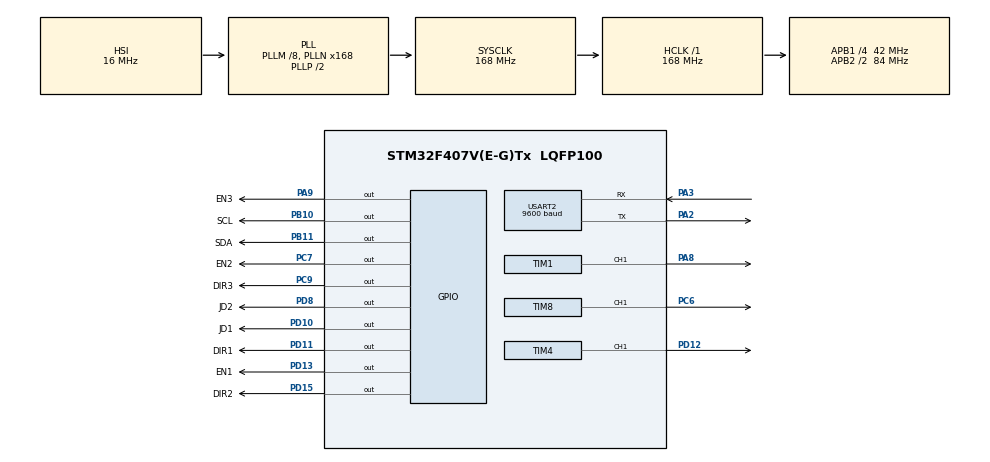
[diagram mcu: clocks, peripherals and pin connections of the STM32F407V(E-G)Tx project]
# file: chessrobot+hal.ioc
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Mcu.Family=STM32F4
Mcu.Name=STM32F407V(E-G)Tx
Mcu.Package=LQFP100
NVIC.PriorityGroup=NVIC_PRIORITYGROUP_4
NVIC.TIM1_UP_TIM10_IRQn=true\:0\:0\:false\:false\:true\:true\:true\:true
NVIC.TIM4_IRQn=true\:0\:0\:false\:false\:true\:true\:true\:true
NVIC.TIM8_UP_TIM13_IRQn=true\:0\:0\:false\:false\:true\:true\:true\:true
NVIC.USART2_IRQn=true\:1\:0\:true\:false\:true\:true\:true\:true
PA13.Mode=Serial_Wire
PA13.Signal=SYS_JTMS-SWDIO
PA14.Mode=Serial_Wire
PA14.Signal=SYS_JTCK-SWCLK
PA2.Mode=Asynchronous
PA2.Signal=USART2_TX
PA3.Mode=Asynchronous
PA3.Signal=USART2_RX
PA8.Signal=S_TIM1_CH1
PA9.GPIO_Label=EN3
PA9.GPIO_Speed=GPIO_SPEED_FREQ_MEDIUM
PA9.Signal=GPIO_Output
PB10.GPIO_Label=SCL
PB10.GPIO_ModeDefaultOutputPP=GPIO_MODE_OUTPUT_OD
PB10.GPIO_PuPd=GPIO_PULLUP
PB10.Signal=GPIO_Output
PB11.GPIO_Label=SDA
PB11.GPIO_ModeDefaultOutputPP=GPIO_MODE_OUTPUT_OD
PB11.GPIO_PuPd=GPIO_PULLUP
PB11.Signal=GPIO_Output
PC14-OSC32_IN.Mode=LSE-External-Oscillator
PC14-OSC32_IN.Signal=RCC_OSC32_IN
PC15-OSC32_OUT.Mode=LSE-External-Oscillator
PC15-OSC32_OUT.Signal=RCC_OSC32_OUT
PC6.Signal=S_TIM8_CH1
PC7.GPIO_Label=EN2
PC7.GPIO_Speed=GPIO_SPEED_FREQ_MEDIUM
PC7.Signal=GPIO_Output
PC9.GPIO_Label=DIR3
PC9.GPIO_Speed=GPIO_SPEED_FREQ_MEDIUM
PC9.Signal=GPIO_Output
PD10.GPIO_Label=JD1
PD10.GPIO_ModeDefaultOutputPP=GPIO_MODE_OUTPUT_PP
PD10.GPIO_PuPd=GPIO_NOPULL
PD10.Signal=GPIO_Output
PD11.GPIO_Label=DIR1
PD11.GPIO_Speed=GPIO_SPEED_FREQ_MEDIUM
PD11.Signal=GPIO_Output
PD12.Signal=S_TIM4_CH1
PD13.GPIO_Label=EN1
PD13.GPIO_Speed=GPIO_SPEED_FREQ_MEDIUM
PD13.Signal=GPIO_Output
PD15.GPIO_Label=DIR2
PD15.GPIO_Speed=GPIO_SPEED_FREQ_MEDIUM
PD15.Signal=GPIO_Output
PD8.GPIO_Label=JD2
PD8.Signal=GPIO_Output
PH0-OSC_IN.Mode=HSE-External-Oscillator
PH0-OSC_IN.Signal=RCC_OSC_IN
PH1-OSC_OUT.Mode=HSE-External-Oscillator
PH1-OSC_OUT.Signal=RCC_OSC_OUT
ProjectManager.HeapSize=0x200
ProjectManager.StackSize=0x400
ProjectManager.TargetToolchain=MDK-ARM V5.32
RCC.48MHZClocksFreq_Value=84000000
RCC.AHBFreq_Value=168000000
RCC.APB1CLKDivider=RCC_HCLK_DIV4
RCC.APB1Freq_Value=42000000
RCC.APB1TimFreq_Value=84000000
RCC.APB2CLKDivider=RCC_HCLK_DIV2
RCC.APB2Freq_Value=84000000
RCC.APB2TimFreq_Value=168000000
RCC.CortexFreq_Value=168000000
RCC.HCLKFreq_Value=168000000
RCC.HSE_VALUE=25000000
RCC.HSI_VALUE=16000000
RCC.PLLM=8
RCC.PLLN=168
RCC.SYSCLKFreq_VALUE=168000000
RCC.SYSCLKSource=RCC_SYSCLKSOURCE_PLLCLK
RCC.VCOOutputFreq_Value=336000000
SH.S_TIM1_CH1.0=TIM1_CH1,PWM Generation1 CH1
SH.S_TIM4_CH1.0=TIM4_CH1,PWM Generation1 CH1
SH.S_TIM8_CH1.0=TIM8_CH1,PWM Generation1 CH1
TIM1.AutoReloadPreload=TIM_AUTORELOAD_PRELOAD_ENABLE
TIM1.Channel-PWM\ Generation1\ CH1=TIM_CHANNEL_1
TIM1.Period=10000-1
TIM1.Prescaler=168-1
TIM13.Prescaler=168-1
TIM4.AutoReloadPreload=TIM_AUTORELOAD_PRELOAD_ENABLE
TIM4.Channel-PWM\ Generation1\ CH1=TIM_CHANNEL_1
TIM4.Period=10000-1
TIM4.Prescaler=168-1
TIM8.AutoReloadPreload=TIM_AUTORELOAD_PRELOAD_ENABLE
TIM8.Channel-PWM\ Generation1\ CH1=TIM_CHANNEL_1
TIM8.Period=10000-1
TIM8.Prescaler=168-1
TIM8.Pulse-PWM\ Generation1\ CH1=0
USART2.BaudRate=9600
USART2.VirtualMode=VM_ASYNC
VP_TIM13_VS_ClockSourceINT.Mode=Enable_Timer
VP_TIM1_VS_ClockSourceINT.Mode=Internal
VP_TIM4_VS_ClockSourceINT.Mode=Internal
VP_TIM8_VS_ClockSourceINT.Mode=Internal
board=custom

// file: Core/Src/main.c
/* USER CODE BEGIN Header */
/**
  ******************************************************************************
  * @file           : main.c
  * @brief          : Main program body
  ******************************************************************************
  * @attention
  *
  * Copyright (c) 2025 STMicroelectronics.
  * All rights reserved.
  *
  * This software is licensed under terms that can be found in the LICENSE file
  * in the root directory of this software component.
  * If no LICENSE file comes with this software, it is provided AS-IS.
  *
  ******************************************************************************
  */
/* USER CODE END Header */
#include "main.h"
#include "tim.h"
#include "usart.h"
#include "gpio.h"

/* USER CODE BEGIN Includes */
#include "H_Oled.h"
#include "tmc2209.h"
#include "poscal.h"
/* USER CODE END Includes */

/* USER CODE BEGIN PV */
uint8_t dataRcvd=0;
int temp=0;
uint8_t byteNumber=5;
extern uint8_t motor2_flag;
extern uint8_t motor1_flag;
extern uint8_t motor3_flag;
/* USER CODE END PV */

void SystemClock_Config(void);

int main(void)
{

  /* MCU Configuration--------------------------------------------------------*/

  /* Reset of all peripherals, Initializes the Flash interface and the Systick. */
  HAL_Init();

  /* Configure the system clock */
  SystemClock_Config();

  /* Initialize all configured peripherals */
  MX_GPIO_Init();
  MX_USART2_UART_Init();
  MX_TIM1_Init();
  MX_TIM4_Init();
  MX_TIM8_Init();
  MX_TIM13_Init();
  /* USER CODE BEGIN 2 */
  HAL_Delay(50);
  OLED_Init();
  HAL_Delay(50);
  OLED_Clear();
  HAL_Delay(50);
  /* USER CODE END 2 */

  /* Infinite loop */
  /* USER CODE BEGIN WHILE */
  HAL_UART_Receive_IT(&huart2,&dataRcvd,1);

  tmc2209_init();
  //motor2_setangle(90);
  //motor2_setangle(-90);
  OLED_ShowNum(1,1,1,1);

  motor3_setangle(30);
  //motor2_setangle(90);

  // angele_setxyz(220,0,20);
  // while(motor1_flag==1||motor2_flag==1||motor3_flag==1){
  //   HAL_Delay(10);
  // }
  // angele_setxyz(220,0,-38);
  // while(motor1_flag==1||motor2_flag==1||motor3_flag==1){
  //   HAL_Delay(10);
  // }

  while (1)
  {
    //OLED_ShowNum(2,1,motor2_step,6);
    //example1();
    //example2();
    //angle_set(250,0);
    //motor3_setangle(20);
    //motor1_setangle(40);
    //motor2_setangle(40);
    //HAL_Delay(4000);
    /* USER CODE END WHILE */

  }
}

void SystemClock_Config(void)
{
  RCC_OscInitTypeDef RCC_OscInitStruct = {0};
  RCC_ClkInitTypeDef RCC_ClkInitStruct = {0};

  /** Configure the main internal regulator output voltage
  */
  __HAL_RCC_PWR_CLK_ENABLE();
  __HAL_PWR_VOLTAGESCALING_CONFIG(PWR_REGULATOR_VOLTAGE_SCALE1);

  /** Initializes the RCC Oscillators according to the specified parameters
  * in the RCC_OscInitTypeDef structure.
  */
  RCC_OscInitStruct.OscillatorType = RCC_OSCILLATORTYPE_HSI;
  RCC_OscInitStruct.HSIState = RCC_HSI_ON;
  RCC_OscInitStruct.HSICalibrationValue = RCC_HSICALIBRATION_DEFAULT;
  RCC_OscInitStruct.PLL.PLLState = RCC_PLL_ON;
  RCC_OscInitStruct.PLL.PLLSource = RCC_PLLSOURCE_HSI;
  RCC_OscInitStruct.PLL.PLLM = 8;
  RCC_OscInitStruct.PLL.PLLN = 168;
  RCC_OscInitStruct.PLL.PLLP = RCC_PLLP_DIV2;
  RCC_OscInitStruct.PLL.PLLQ = 4;
  if (HAL_RCC_OscConfig(&RCC_OscInitStruct) != HAL_OK)
  {
    Error_Handler();
  }

  /** Initializes the CPU, AHB and APB buses clocks
  */
  RCC_ClkInitStruct.ClockType = RCC_CLOCKTYPE_HCLK|RCC_CLOCKTYPE_SYSCLK
                              |RCC_CLOCKTYPE_PCLK1|RCC_CLOCKTYPE_PCLK2;
  RCC_ClkInitStruct.SYSCLKSource = RCC_SYSCLKSOURCE_PLLCLK;
  RCC_ClkInitStruct.AHBCLKDivider = RCC_SYSCLK_DIV1;
  RCC_ClkInitStruct.APB1CLKDivider = RCC_HCLK_DIV4;
  RCC_ClkInitStruct.APB2CLKDivider = RCC_HCLK_DIV2;

  if (HAL_RCC_ClockConfig(&RCC_ClkInitStruct, FLASH_LATENCY_5) != HAL_OK)
  {
    Error_Handler();
  }
}

/* USER CODE BEGIN 4 */
void HAL_UART_RxCpltCallback(UART_HandleTypeDef *huart){
	if(huart==&huart2){
		temp++;
    HAL_UART_Transmit(&huart2,&dataRcvd,1,HAL_MAX_DELAY);
		HAL_UART_Receive_IT(&huart2,&dataRcvd,1);
	}
}
/* USER CODE END 4 */

void Error_Handler(void)
{
  __disable_irq();
  while (1)
  {
  }
}
